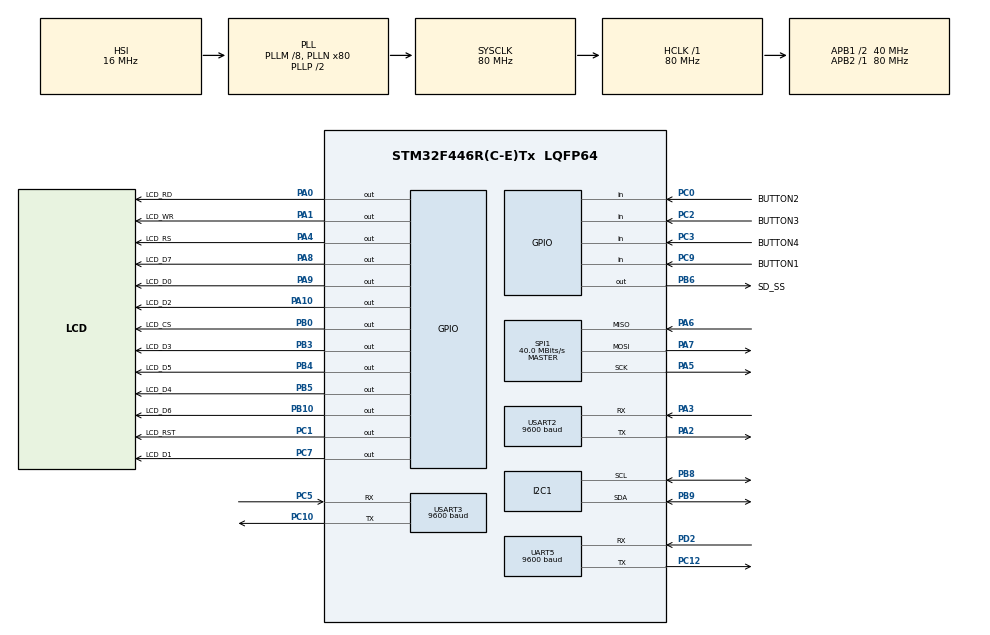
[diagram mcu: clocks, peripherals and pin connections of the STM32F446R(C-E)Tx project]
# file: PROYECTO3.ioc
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I2C1.NoStretchMode=I2C_NOSTRETCH_ENABLE
Mcu.Family=STM32F4
Mcu.Name=STM32F446R(C-E)Tx
Mcu.Package=LQFP64
NVIC.I2C1_ER_IRQn=true\:0\:0\:false\:false\:true\:true\:true\:true
NVIC.I2C1_EV_IRQn=true\:0\:0\:false\:false\:true\:true\:true\:true
NVIC.PriorityGroup=NVIC_PRIORITYGROUP_4
NVIC.UART5_IRQn=true\:0\:0\:false\:false\:true\:true\:true\:true
NVIC.USART2_IRQn=true\:0\:0\:false\:false\:true\:true\:true\:true
NVIC.USART3_IRQn=true\:0\:0\:false\:false\:true\:true\:true\:true
PA0-WKUP.GPIO_Label=LCD_RD
PA0-WKUP.GPIO_Speed=GPIO_SPEED_FREQ_HIGH
PA0-WKUP.Signal=GPIO_Output
PA1.GPIO_Label=LCD_WR
PA1.GPIO_Speed=GPIO_SPEED_FREQ_HIGH
PA1.Signal=GPIO_Output
PA10.GPIO_Label=LCD_D2
PA10.GPIO_Speed=GPIO_SPEED_FREQ_HIGH
PA10.Signal=GPIO_Output
PA13.Mode=Serial_Wire
PA13.Signal=SYS_JTMS-SWDIO
PA14.Mode=Serial_Wire
PA14.Signal=SYS_JTCK-SWCLK
PA2.Mode=Asynchronous
PA2.Signal=USART2_TX
PA3.Mode=Asynchronous
PA3.Signal=USART2_RX
PA4.GPIO_Label=LCD_RS
PA4.GPIO_Speed=GPIO_SPEED_FREQ_HIGH
PA4.Signal=GPIO_Output
PA5.Mode=Full_Duplex_Master
PA5.Signal=SPI1_SCK
PA6.Mode=Full_Duplex_Master
PA6.Signal=SPI1_MISO
PA7.Mode=Full_Duplex_Master
PA7.Signal=SPI1_MOSI
PA8.GPIO_Label=LCD_D7
PA8.GPIO_Speed=GPIO_SPEED_FREQ_HIGH
PA8.Signal=GPIO_Output
PA9.GPIO_Label=LCD_D0
PA9.GPIO_Speed=GPIO_SPEED_FREQ_HIGH
PA9.Signal=GPIO_Output
PB0.GPIO_Label=LCD_CS
PB0.GPIO_Speed=GPIO_SPEED_FREQ_HIGH
PB0.Signal=GPIO_Output
PB10.GPIO_Label=LCD_D6
PB10.GPIO_Speed=GPIO_SPEED_FREQ_HIGH
PB10.Signal=GPIO_Output
PB3.GPIO_Label=LCD_D3
PB3.GPIO_Speed=GPIO_SPEED_FREQ_HIGH
PB3.Signal=GPIO_Output
PB4.GPIO_Label=LCD_D5
PB4.GPIO_Speed=GPIO_SPEED_FREQ_HIGH
PB4.Signal=GPIO_Output
PB5.GPIO_Label=LCD_D4
PB5.GPIO_Speed=GPIO_SPEED_FREQ_HIGH
PB5.Signal=GPIO_Output
PB6.GPIO_Label=SD_SS
PB6.GPIO_Speed=GPIO_SPEED_FREQ_HIGH
PB6.Signal=GPIO_Output
PB8.Mode=I2C
PB8.Signal=I2C1_SCL
PB9.Mode=I2C
PB9.Signal=I2C1_SDA
PC0.GPIO_Label=BUTTON2
PC0.GPIO_PuPd=GPIO_PULLUP
PC0.Signal=GPIO_Input
PC1.GPIO_Label=LCD_RST
PC1.GPIO_Speed=GPIO_SPEED_FREQ_HIGH
PC1.Signal=GPIO_Output
PC10.Mode=Asynchronous
PC10.Signal=USART3_TX
PC12.Mode=Asynchronous
PC12.Signal=UART5_TX
PC2.GPIO_Label=BUTTON3
PC2.GPIO_PuPd=GPIO_PULLUP
PC2.Signal=GPIO_Input
PC3.GPIO_Label=BUTTON4
PC3.GPIO_PuPd=GPIO_PULLUP
PC3.Signal=GPIO_Input
PC5.Mode=Asynchronous
PC5.Signal=USART3_RX
PC7.GPIO_Label=LCD_D1
PC7.GPIO_Speed=GPIO_SPEED_FREQ_HIGH
PC7.Signal=GPIO_Output
PC9.GPIO_Label=BUTTON1
PC9.GPIO_PuPd=GPIO_PULLUP
PC9.Signal=GPIO_Input
PD2.Mode=Asynchronous
PD2.Signal=UART5_RX
PH0-OSC_IN.Mode=HSE-External-Oscillator
PH0-OSC_IN.Signal=RCC_OSC_IN
PH1-OSC_OUT.Mode=HSE-External-Oscillator
PH1-OSC_OUT.Signal=RCC_OSC_OUT
ProjectManager.HeapSize=0x200
ProjectManager.StackSize=0x400
ProjectManager.TargetToolchain=STM32CubeIDE
RCC.AHBFreq_Value=80000000
RCC.APB1CLKDivider=RCC_HCLK_DIV2
RCC.APB1Freq_Value=40000000
RCC.APB1TimFreq_Value=80000000
RCC.APB2Freq_Value=80000000
RCC.APB2TimFreq_Value=80000000
RCC.CortexFreq_Value=80000000
RCC.HCLKFreq_Value=80000000
RCC.PLLM=8
RCC.PLLN=80
RCC.SYSCLKFreq_VALUE=80000000
RCC.SYSCLKSource=RCC_SYSCLKSOURCE_PLLCLK
RCC.USBFreq_Value=80000000
RCC.VCOOutputFreq_Value=160000000
SPI1.CalculateBaudRate=40.0 MBits/s
SPI1.Direction=SPI_DIRECTION_2LINES
SPI1.Mode=SPI_MODE_MASTER
SPI1.VirtualType=VM_MASTER
UART5.BaudRate=9600
UART5.VirtualMode=Asynchronous
USART2.BaudRate=9600
USART2.VirtualMode=VM_ASYNC
USART3.BaudRate=9600
USART3.VirtualMode=VM_ASYNC
board=custom

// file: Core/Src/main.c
/* USER CODE BEGIN Header */
/**
 ******************************************************************************
 * @file           : main.c
 * @brief          : Main program body
 ******************************************************************************
 * @attention
 *
 * Copyright (c) 2024 STMicroelectronics.
 * All rights reserved.
 *
 * This software is licensed under terms that can be found in the LICENSE file
 * in the root directory of this software component.
 * If no LICENSE file comes with this software, it is provided AS-IS.
 *
 ******************************************************************************
 */
/* USER CODE END Header */
#include "main.h"

/* USER CODE BEGIN Includes */
#include "ili9341.h"
#include "bitmaps.h"
/* USER CODE END Includes */

/* USER CODE BEGIN PD */
#define ESP32_ADDRESS 0x10
/* USER CODE END PD */

I2C_HandleTypeDef hi2c1;

SPI_HandleTypeDef hspi1;

UART_HandleTypeDef huart5;
UART_HandleTypeDef huart2;
UART_HandleTypeDef huart3;

/* USER CODE BEGIN PV */

uint8_t TX_Buffer [] = "S";
uint8_t RX_Buffer [1];

uint8_t option[1];
uint8_t option1[1];
uint8_t option2[1];
uint8_t tx_buffer[20];

uint8_t carroD1 = 0;
uint8_t carroD2 = 0;
uint8_t carroD3 = 0;
uint8_t carroD4 = 0;
uint8_t carroD5 = 0;
uint8_t carroD6 = 0;
uint8_t carroD7 = 0;
uint8_t carroD8 = 0;

uint8_t parqueo5 = 0;
uint8_t parqueo6 = 0;
uint8_t parqueo7 = 0;
uint8_t parqueo8 = 0;

int parqueos = 8;
uint8_t change = 0;

int y1 = 35;
int y2 = 35;
int y3 = 35;
int y4 = 35;
int y5 = 160;
int y6 = 160;
int y7 = 160;
int y8 = 160;
/* USER CODE END PV */

void SystemClock_Config(void);
static void MX_GPIO_Init(void);
static void MX_SPI1_Init(void);
static void MX_I2C1_Init(void);
static void MX_USART2_UART_Init(void);
static void MX_USART3_UART_Init(void);
static void MX_UART5_Init(void);
/* USER CODE BEGIN PFP */
void send_i2c_command(char* command);
/* USER CODE END PFP */

/* USER CODE BEGIN 0 */
void transmit_uart(char *message);
void transmit_uart3(char *message);
void transmit_uart5(char *message);
/* USER CODE END 0 */

int main(void)
{

  /* MCU Configuration--------------------------------------------------------*/

  /* Reset of all peripherals, Initializes the Flash interface and the Systick. */
  HAL_Init();

  /* Configure the system clock */
  SystemClock_Config();

  /* Initialize all configured peripherals */
  MX_GPIO_Init();
  MX_SPI1_Init();
  MX_I2C1_Init();
  MX_USART2_UART_Init();
  MX_USART3_UART_Init();
  MX_UART5_Init();
  /* USER CODE BEGIN 2 */

  HAL_UART_Receive_IT(&huart2, option, 1);  // EMPEZAR RECEPCIÓN
  HAL_UART_Receive_IT(&huart3, option, 1);  // EMPEZAR RECEPCIÓN
  HAL_UART_Receive_IT(&huart5, option2, 1);
	LCD_Init();

	LCD_Clear(0x736E);
	//FillRect(0, 0, 319, 239, 0xDD47);
	FillRect(93, 19, 203, 6, 0xDD47);
	FillRect(90, 19, 6, 57, 0xDD47);
	FillRect(140, 19, 6, 57, 0xDD47);
	FillRect(190, 19, 6, 57, 0xDD47);
	FillRect(240, 19, 6, 57, 0xDD47);
	FillRect(290, 19, 6, 57, 0xDD47);

	FillRect(93, 221, 203, 6, 0xDD47);
	FillRect(90, 170, 6, 57, 0xDD47);
	FillRect(140, 170, 6, 57, 0xDD47);
	FillRect(190, 170, 6, 57, 0xDD47);
	FillRect(240, 170, 6, 57, 0xDD47);
	FillRect(290, 170, 6, 57, 0xDD47);

	LCD_Sprite(20, 107, 30, 33, numbers, 10, 8, 0, 0);

	//SEMAFOROS

	LCD_Sprite(101, 85, 35, 18, semaforo, 2, 0, 0, 0);	//SEMAFORO1
	LCD_Sprite(151, 85, 35, 18, semaforo, 2, 0, 0, 0);	//SEMAFORO2
	LCD_Sprite(201, 85, 35, 18, semaforo, 2, 0, 0, 0);	//SEMAFORO3
	LCD_Sprite(251, 85, 35, 18, semaforo, 2, 0, 0, 0);	//SEMAFORO4

	LCD_Sprite(101, 140, 35, 18, semaforo, 2, 0, 0, 0);	//SEMAFORO5
	LCD_Sprite(151, 140, 35, 18, semaforo, 2, 0, 0, 0);	//SEMAFORO6
	LCD_Sprite(201, 140, 35, 18, semaforo, 2, 0, 0, 0);	//SEMAFORO7
	LCD_Sprite(251, 140, 35, 18, semaforo, 2, 0, 0, 0);	//SEMAFORO8

		//LCD_Bitmap(0, 0, 320, 240, fondo);
	 //FillRect(0, 0, 319, 206, 0x1911);

	  //LCD_Print("Hola Mundo", 20, 100, 1, 0x001F, 0xCAB9);

  /* USER CODE END 2 */

  /* Infinite loop */
  /* USER CODE BEGIN WHILE */
	while (1) {

		//CARRO 1
		if (HAL_GPIO_ReadPin(BUTTON1_GPIO_Port, BUTTON1_Pin) == GPIO_PIN_RESET){
			if (carroD1 == 0){
				LCD_Sprite(100, y1, 36, 48, cars, 8, 0, 0, 0);
				if (y1 >= 26){
					y1--;
				}
				if (y1 == 25){
					carroD1 = 1;
					parqueos--;
					change = 1;
					LCD_Sprite(101, 85, 35, 18, semaforo, 2, 1, 0, 0);
					HAL_UART_Transmit(&huart5, "a", 1, 10);
					send_i2c_command("1");
				}
			}

		}else{
			if (carroD1 == 1){
				FillRect(100, 25, 36, 50, 0x736E);
				carroD1 = 0;
				parqueos++;
				change = 1;
				LCD_Sprite(101, 85, 35, 18, semaforo, 2, 0, 0, 0);
				HAL_UART_Transmit(&huart5, "i", 1, 10);
				send_i2c_command("a");
			}
			y1 = 35;
		}

		//CARRO 2
		if (HAL_GPIO_ReadPin(BUTTON2_GPIO_Port, BUTTON2_Pin) == GPIO_PIN_RESET){
			if (carroD2 == 0){
				LCD_Sprite(150, y2, 36, 48, cars, 8, 1, 0, 0);
				if (y2 >= 26){
					y2--;
				}
				if (y2 == 25){
					carroD2 = 1;
					parqueos--;
					change = 1;
					LCD_Sprite(151, 85, 35, 18, semaforo, 2, 1, 0, 0);
					HAL_UART_Transmit(&huart5, "b", 1, 10);
					send_i2c_command("2");
				}
			}
		}else{
			if (carroD2 == 1){
				FillRect(150, 25, 36, 50, 0x736E);
				carroD2 = 0;
				parqueos++;
				change = 1;
				LCD_Sprite(151, 85, 35, 18, semaforo, 2, 0, 0, 0);
				HAL_UART_Transmit(&huart5, "j", 1, 10);
				send_i2c_command("b");
			}
			y2 = 35;
		}

		//CARRO 3
		if (HAL_GPIO_ReadPin(BUTTON3_GPIO_Port, BUTTON3_Pin) == GPIO_PIN_RESET){
			if (carroD3 == 0){
				LCD_Sprite(200, y3, 36, 48, cars, 8, 2, 0, 0);
				if (y3 >= 26){
					y3--;
				}
				if (y3 == 25){
					carroD3 = 1;
					parqueos--;
					change = 1;
					LCD_Sprite(201, 85, 35, 18, semaforo, 2, 1, 0, 0);
					HAL_UART_Transmit(&huart5, "c", 1, 10);
					send_i2c_command("3");
				}
			}
		}else{
			if (carroD3 == 1){
				FillRect(200, 25, 36, 50, 0x736E);
				carroD3 = 0;
				parqueos++;
				change = 1;
				LCD_Sprite(201, 85, 35, 18, semaforo, 2, 0, 0, 0);
				HAL_UART_Transmit(&huart5, "k", 1, 10);
				send_i2c_command("c");
			}
			y3 = 35;
		}

		//CARRO 4
		if (HAL_GPIO_ReadPin(BUTTON4_GPIO_Port, BUTTON4_Pin) == GPIO_PIN_RESET){
			if (carroD4 == 0){
				LCD_Sprite(250, y4, 36, 48, cars, 8, 3, 0, 0);
				if (y4 >= 26){
					y4--;
				}
				if (y4 == 25){
					carroD4 = 1;
					parqueos--;
					change = 1;
					LCD_Sprite(251, 85, 35, 18, semaforo, 2, 1, 0, 0);
					HAL_UART_Transmit(&huart5, "d", 1, 10);
					send_i2c_command("4");
				}
			}
		}else{
			if (carroD4 == 1){
				FillRect(250, 25, 36, 50, 0x736E);
				carroD4 = 0;
				parqueos++;
				change = 1;
				LCD_Sprite(251, 85, 35, 18, semaforo, 2, 0, 0, 0);
				HAL_UART_Transmit(&huart5, "l", 1, 10);
				send_i2c_command("d");
			}
			y4 = 35;
		}

		//CARRO 5
		if (parqueo5 == 1){	//SI SE RECIBE UN DATO PROVENIENTE DE LA UART
			if (carroD5 == 0){
				LCD_Sprite(100, y5, 36, 48, cars, 8, 4, 0, 0);
				if (y5 <= 169){
					y5++;
				}
				if (y5 == 170){
					carroD5 = 1;
					parqueos--;
					change = 1;
					LCD_Sprite(101, 140, 35, 18, semaforo, 2, 1, 0, 0);
					HAL_UART_Transmit(&huart5, "e", 1, 10);
					send_i2c_command("5");
					//parqueo5 = 0;
				}
			}
		}else if (parqueo5 == 0){
			if (carroD5 == 1){
				FillRect(100, 170, 36, 50, 0x736E);
				carroD5 = 0;
				parqueos++;
				change = 1;
				LCD_Sprite(101, 140, 35, 18, semaforo, 2, 0, 0, 0);
				HAL_UART_Transmit(&huart5, "m", 1, 10);
				send_i2c_command("e");
				//parqueo5 = 0;
			}
			y5 = 160;
		}

		//CARRO 6
		if (parqueo6 == 1){	//SI SE RECIBE UN DATO PROVENIENTE DE LA UART
			if (carroD6 == 0){
				LCD_Sprite(150, y6, 36, 48, cars, 8, 5, 0, 0);
				if (y6 <= 169){
					y6++;
				}
				if (y6 == 170){
					carroD6 = 1;
					parqueos--;
					change = 1;
					LCD_Sprite(151, 140, 35, 18, semaforo, 2, 1, 0, 0);
					HAL_UART_Transmit(&huart5, "f", 1, 10);
					send_i2c_command("6");
					//parqueo5 = 0;
				}
			}
		}else if (parqueo6 == 0){
			if (carroD6 == 1){
				FillRect(150, 170, 36, 50, 0x736E);
				carroD6 = 0;
				parqueos++;
				change = 1;
				LCD_Sprite(151, 140, 35, 18, semaforo, 2, 0, 0, 0);
				HAL_UART_Transmit(&huart5, "n", 1, 10);
				send_i2c_command("f");
				//parqueo5 = 0;
			}
			y6 = 160;
		}
		//CARRO 7
		if (parqueo7 == 1){	//SI SE RECIBE UN DATO PROVENIENTE DE LA UART
			if (carroD7 == 0){
				LCD_Sprite(200, y7, 36, 48, cars, 8, 6, 0, 0);
				if (y7 <= 169){
					y7++;
				}
				if (y7 == 170){
					carroD7 = 1;
					parqueos--;
					change = 1;
					LCD_Sprite(201, 140, 35, 18, semaforo, 2, 1, 0, 0);
					HAL_UART_Transmit(&huart5, "g", 1, 10);
					send_i2c_command("7");
					//parqueo5 = 0;
				}
			}
		}else if (parqueo7 == 0){
			if (carroD7 == 1){
				FillRect(200, 170, 36, 50, 0x736E);
				carroD7 = 0;
				parqueos++;
				change = 1;
				LCD_Sprite(201, 140, 35, 18, semaforo, 2, 0, 0, 0);
				HAL_UART_Transmit(&huart5, "o", 1, 10);
				send_i2c_command("g");
				//parqueo5 = 0;
			}
			y7 = 160;
		}
		//CARRO 8
		if (parqueo8 == 1){	//SI SE RECIBE UN DATO PROVENIENTE DE LA UART
			if (carroD8 == 0){
				LCD_Sprite(250, y8, 36, 48, cars, 8, 7, 0, 0);
				if (y8 <= 169){
					y8++;
				}
				if (y8 == 170){
					carroD8 = 1;
					parqueos--;
					change = 1;
					LCD_Sprite(251, 140, 35, 18, semaforo, 2, 1, 0, 0);
					HAL_UART_Transmit(&huart5, "h", 1, 10);
					send_i2c_command("8");
					//parqueo5 = 0;
				}
			}
		}else if (parqueo8 == 0){
			if (carroD8 == 1){
				FillRect(250, 170, 36, 50, 0x736E);
				carroD8 = 0;
				parqueos++;
				change = 1;
				LCD_Sprite(251, 140, 35, 18, semaforo, 2, 0, 0, 0);
				HAL_UART_Transmit(&huart5, "p", 1, 10);
				send_i2c_command("h");
				//parqueo5 = 0;
			}
			y8 = 160;
		}

		//NUMEROS
		if (parqueos == 8 && change == 1){
			LCD_Sprite(20, 107, 30, 33, numbers, 10, 8, 0, 0);
			change = 0;
		}else if (parqueos == 7 && change == 1){
			LCD_Sprite(20, 107, 30, 33, numbers, 10, 7, 0, 0);
			change = 0;
		}else if (parqueos == 6 && change == 1){
			LCD_Sprite(20, 107, 30, 33, numbers, 10, 6, 0, 0);
			change = 0;
		}else if (parqueos == 5 && change == 1){
			LCD_Sprite(20, 107, 30, 33, numbers, 10, 5, 0, 0);
			change = 0;
		}else if (parqueos == 4 && change == 1){
			LCD_Sprite(20, 107, 30, 33, numbers, 10, 4, 0, 0);
			change = 0;
		}else if (parqueos == 3 && change == 1){
			LCD_Sprite(20, 107, 30, 33, numbers, 10, 3, 0, 0);
			change = 0;
		}else if (parqueos == 2 && change == 1){
			LCD_Sprite(20, 107, 30, 33, numbers, 10, 2, 0, 0);
			change = 0;
		}else if (parqueos == 1 && change == 1){
			LCD_Sprite(20, 107, 30, 33, numbers, 10, 1, 0, 0);
			change = 0;
		}else if (parqueos == 0 && change == 1){
			LCD_Sprite(20, 107, 30, 33, numbers, 10, 0, 0, 0);
			change = 0;
		}

		/*TX_Buffer[0] = '0';
		HAL_I2C_Master_Transmit(&hi2c1, (deviceAddress << 1)|0x00, TX_Buffer, 1, HAL_MAX_DELAY);
		HAL_Delay(1000);
		TX_Buffer[0] = 'S';
		HAL_I2C_Master_Transmit(&hi2c1, (deviceAddress << 1), TX_Buffer, 1, HAL_MAX_DELAY);
		HAL_Delay(1000);

		HAL_I2C_Master_Receive(&hi2c1, (deviceAddress << 1)|0x01, (uint8_t *)RX_Buffer, 1, HAL_MAX_DELAY);
		HAL_UART_Transmit(&huart2, RX_Buffer, 1, 1000);*/

    /* USER CODE END WHILE */

	}
}

void SystemClock_Config(void)
{
  RCC_OscInitTypeDef RCC_OscInitStruct = {0};
  RCC_ClkInitTypeDef RCC_ClkInitStruct = {0};

  /** Configure the main internal regulator output voltage
  */
  __HAL_RCC_PWR_CLK_ENABLE();
  __HAL_PWR_VOLTAGESCALING_CONFIG(PWR_REGULATOR_VOLTAGE_SCALE3);

  /** Initializes the RCC Oscillators according to the specified parameters
  * in the RCC_OscInitTypeDef structure.
  */
  RCC_OscInitStruct.OscillatorType = RCC_OSCILLATORTYPE_HSI;
  RCC_OscInitStruct.HSIState = RCC_HSI_ON;
  RCC_OscInitStruct.HSICalibrationValue = RCC_HSICALIBRATION_DEFAULT;
  RCC_OscInitStruct.PLL.PLLState = RCC_PLL_ON;
  RCC_OscInitStruct.PLL.PLLSource = RCC_PLLSOURCE_HSI;
  RCC_OscInitStruct.PLL.PLLM = 8;
  RCC_OscInitStruct.PLL.PLLN = 80;
  RCC_OscInitStruct.PLL.PLLP = RCC_PLLP_DIV2;
  RCC_OscInitStruct.PLL.PLLQ = 2;
  RCC_OscInitStruct.PLL.PLLR = 2;
  if (HAL_RCC_OscConfig(&RCC_OscInitStruct) != HAL_OK)
  {
    Error_Handler();
  }

  /** Initializes the CPU, AHB and APB buses clocks
  */
  RCC_ClkInitStruct.ClockType = RCC_CLOCKTYPE_HCLK|RCC_CLOCKTYPE_SYSCLK
                              |RCC_CLOCKTYPE_PCLK1|RCC_CLOCKTYPE_PCLK2;
  RCC_ClkInitStruct.SYSCLKSource = RCC_SYSCLKSOURCE_PLLCLK;
  RCC_ClkInitStruct.AHBCLKDivider = RCC_SYSCLK_DIV1;
  RCC_ClkInitStruct.APB1CLKDivider = RCC_HCLK_DIV2;
  RCC_ClkInitStruct.APB2CLKDivider = RCC_HCLK_DIV1;

  if (HAL_RCC_ClockConfig(&RCC_ClkInitStruct, FLASH_LATENCY_2) != HAL_OK)
  {
    Error_Handler();
  }
}

static void MX_I2C1_Init(void)
{

  hi2c1.Instance = I2C1;
  hi2c1.Init.ClockSpeed = 100000;
  hi2c1.Init.DutyCycle = I2C_DUTYCYCLE_2;
  hi2c1.Init.OwnAddress1 = 0;
  hi2c1.Init.AddressingMode = I2C_ADDRESSINGMODE_7BIT;
  hi2c1.Init.DualAddressMode = I2C_DUALADDRESS_DISABLE;
  hi2c1.Init.OwnAddress2 = 0;
  hi2c1.Init.GeneralCallMode = I2C_GENERALCALL_DISABLE;
  hi2c1.Init.NoStretchMode = I2C_NOSTRETCH_ENABLE;
  if (HAL_I2C_Init(&hi2c1) != HAL_OK)
  {
    Error_Handler();
  }

}

static void MX_SPI1_Init(void)
{

  /* SPI1 parameter configuration*/
  hspi1.Instance = SPI1;
  hspi1.Init.Mode = SPI_MODE_MASTER;
  hspi1.Init.Direction = SPI_DIRECTION_2LINES;
  hspi1.Init.DataSize = SPI_DATASIZE_8BIT;
  hspi1.Init.CLKPolarity = SPI_POLARITY_LOW;
  hspi1.Init.CLKPhase = SPI_PHASE_1EDGE;
  hspi1.Init.NSS = SPI_NSS_SOFT;
  hspi1.Init.BaudRatePrescaler = SPI_BAUDRATEPRESCALER_2;
  hspi1.Init.FirstBit = SPI_FIRSTBIT_MSB;
  hspi1.Init.TIMode = SPI_TIMODE_DISABLE;
  hspi1.Init.CRCCalculation = SPI_CRCCALCULATION_DISABLE;
  hspi1.Init.CRCPolynomial = 10;
  if (HAL_SPI_Init(&hspi1) != HAL_OK)
  {
    Error_Handler();
  }

}

static void MX_UART5_Init(void)
{

  huart5.Instance = UART5;
  huart5.Init.BaudRate = 9600;
  huart5.Init.WordLength = UART_WORDLENGTH_8B;
  huart5.Init.StopBits = UART_STOPBITS_1;
  huart5.Init.Parity = UART_PARITY_NONE;
  huart5.Init.Mode = UART_MODE_TX_RX;
  huart5.Init.HwFlowCtl = UART_HWCONTROL_NONE;
  huart5.Init.OverSampling = UART_OVERSAMPLING_16;
  if (HAL_UART_Init(&huart5) != HAL_OK)
  {
    Error_Handler();
  }

}

static void MX_USART2_UART_Init(void)
{

  huart2.Instance = USART2;
  huart2.Init.BaudRate = 9600;
  huart2.Init.WordLength = UART_WORDLENGTH_8B;
  huart2.Init.StopBits = UART_STOPBITS_1;
  huart2.Init.Parity = UART_PARITY_NONE;
  huart2.Init.Mode = UART_MODE_TX_RX;
  huart2.Init.HwFlowCtl = UART_HWCONTROL_NONE;
  huart2.Init.OverSampling = UART_OVERSAMPLING_16;
  if (HAL_UART_Init(&huart2) != HAL_OK)
  {
    Error_Handler();
  }

}

static void MX_USART3_UART_Init(void)
{

  huart3.Instance = USART3;
  huart3.Init.BaudRate = 9600;
  huart3.Init.WordLength = UART_WORDLENGTH_8B;
  huart3.Init.StopBits = UART_STOPBITS_1;
  huart3.Init.Parity = UART_PARITY_NONE;
  huart3.Init.Mode = UART_MODE_TX_RX;
  huart3.Init.HwFlowCtl = UART_HWCONTROL_NONE;
  huart3.Init.OverSampling = UART_OVERSAMPLING_16;
  if (HAL_UART_Init(&huart3) != HAL_OK)
  {
    Error_Handler();
  }

}

static void MX_GPIO_Init(void)
{
  GPIO_InitTypeDef GPIO_InitStruct = {0};

  /* GPIO Ports Clock Enable */
  __HAL_RCC_GPIOH_CLK_ENABLE();
  __HAL_RCC_GPIOC_CLK_ENABLE();
  __HAL_RCC_GPIOA_CLK_ENABLE();
  __HAL_RCC_GPIOB_CLK_ENABLE();
  __HAL_RCC_GPIOD_CLK_ENABLE();

  /*Configure GPIO pin Output Level */
  HAL_GPIO_WritePin(GPIOC, LCD_RST_Pin|LCD_D1_Pin, GPIO_PIN_RESET);

  /*Configure GPIO pin Output Level */
  HAL_GPIO_WritePin(GPIOA, LCD_RD_Pin|LCD_WR_Pin|LCD_RS_Pin|LCD_D7_Pin
                          |LCD_D0_Pin|LCD_D2_Pin, GPIO_PIN_RESET);

  /*Configure GPIO pin Output Level */
  HAL_GPIO_WritePin(GPIOB, LCD_CS_Pin|LCD_D6_Pin|LCD_D3_Pin|LCD_D5_Pin
                          |LCD_D4_Pin|SD_SS_Pin, GPIO_PIN_RESET);

  /*Configure GPIO pins : BUTTON2_Pin BUTTON3_Pin BUTTON4_Pin BUTTON1_Pin */
  GPIO_InitStruct.Pin = BUTTON2_Pin|BUTTON3_Pin|BUTTON4_Pin|BUTTON1_Pin;
  GPIO_InitStruct.Mode = GPIO_MODE_INPUT;
  GPIO_InitStruct.Pull = GPIO_PULLUP;
  HAL_GPIO_Init(GPIOC, &GPIO_InitStruct);

  /*Configure GPIO pins : LCD_RST_Pin LCD_D1_Pin */
  GPIO_InitStruct.Pin = LCD_RST_Pin|LCD_D1_Pin;
  GPIO_InitStruct.Mode = GPIO_MODE_OUTPUT_PP;
  GPIO_InitStruct.Pull = GPIO_NOPULL;
  GPIO_InitStruct.Speed = GPIO_SPEED_FREQ_HIGH;
  HAL_GPIO_Init(GPIOC, &GPIO_InitStruct);

  /*Configure GPIO pins : LCD_RD_Pin LCD_WR_Pin LCD_RS_Pin LCD_D7_Pin
                           LCD_D0_Pin LCD_D2_Pin */
  GPIO_InitStruct.Pin = LCD_RD_Pin|LCD_WR_Pin|LCD_RS_Pin|LCD_D7_Pin
                          |LCD_D0_Pin|LCD_D2_Pin;
  GPIO_InitStruct.Mode = GPIO_MODE_OUTPUT_PP;
  GPIO_InitStruct.Pull = GPIO_NOPULL;
  GPIO_InitStruct.Speed = GPIO_SPEED_FREQ_HIGH;
  HAL_GPIO_Init(GPIOA, &GPIO_InitStruct);

  /*Configure GPIO pins : LCD_CS_Pin LCD_D6_Pin LCD_D3_Pin LCD_D5_Pin
                           LCD_D4_Pin SD_SS_Pin */
  GPIO_InitStruct.Pin = LCD_CS_Pin|LCD_D6_Pin|LCD_D3_Pin|LCD_D5_Pin
                          |LCD_D4_Pin|SD_SS_Pin;
  GPIO_InitStruct.Mode = GPIO_MODE_OUTPUT_PP;
  GPIO_InitStruct.Pull = GPIO_NOPULL;
  GPIO_InitStruct.Speed = GPIO_SPEED_FREQ_HIGH;
  HAL_GPIO_Init(GPIOB, &GPIO_InitStruct);

}

/* USER CODE BEGIN 4 */

// Función para enviar un comando I2C
void send_i2c_command(char* command) {
    HAL_I2C_Master_Transmit(&hi2c1, (uint16_t)(ESP32_ADDRESS << 1), (uint8_t*)command, strlen(command), HAL_MAX_DELAY);
}

void transmit_uart2(char *message) {
   HAL_UART_Transmit(&huart2, (uint8_t*)message, strlen(message), HAL_MAX_DELAY);
}
void transmit_uart3(char *message) {
   HAL_UART_Transmit(&huart3, (uint8_t*)message, strlen(message), HAL_MAX_DELAY);
}
void transmit_uart5(char *message) {
   HAL_UART_Transmit(&huart5, (uint8_t*)message, strlen(message), HAL_MAX_DELAY);
}

void HAL_UART_RxCpltCallback(UART_HandleTypeDef *huart){
	if(huart->Instance == USART2){
		switch (option1[0]){
		case 'e':
			parqueo5 = 1;
			break;
		case 'f':
			parqueo6 = 1;
			break;
		case 'g':
			parqueo7 = 1;
			break;
		case 'h':
			parqueo8 = 1;
			break;
		default:
			break;
		}
		HAL_UART_Receive_IT(&huart2, option1, 1);  // EMPEZAR RECEPCIÓN
	}
	if(huart->Instance == USART3){
		switch (option1[0]){
			case 'e':
				parqueo5 = 1;
				break;
			case 'm':
				parqueo5 = 0;
				break;
			case 'f':
				parqueo6 = 1;
				break;
			case 'n':
				parqueo6 = 0;
				break;
			case 'g':
				parqueo7 = 1;
				break;
			case 'o':
				parqueo7 = 0;
				break;
			case 'h':
				parqueo8 = 1;
				break;
			case 'p':
				parqueo8 = 0;
				break;
			default:
				break;
			}
			HAL_UART_Receive_IT(&huart3, option1, 1);  // EMPEZAR RECEPCIÓN
		}
	if(huart->Instance == UART5){
			switch (option2[0]){
			case 'e':
				strcpy(tx_buffer, "e");
				break;
			case 'f':
				strcpy(tx_buffer, "f");
				break;
			case 'g':
				strcpy(tx_buffer, "g");
				break;
			case 'h':
				strcpy(tx_buffer, "h");
				break;
			default:
				break;
			}
			HAL_UART_Receive_IT(&huart5, option2, 1);  // EMPEZAR RECEPCIÓN
		}
}
/* USER CODE END 4 */

void Error_Handler(void)
{
	__disable_irq();
	while (1) {
	}
}
